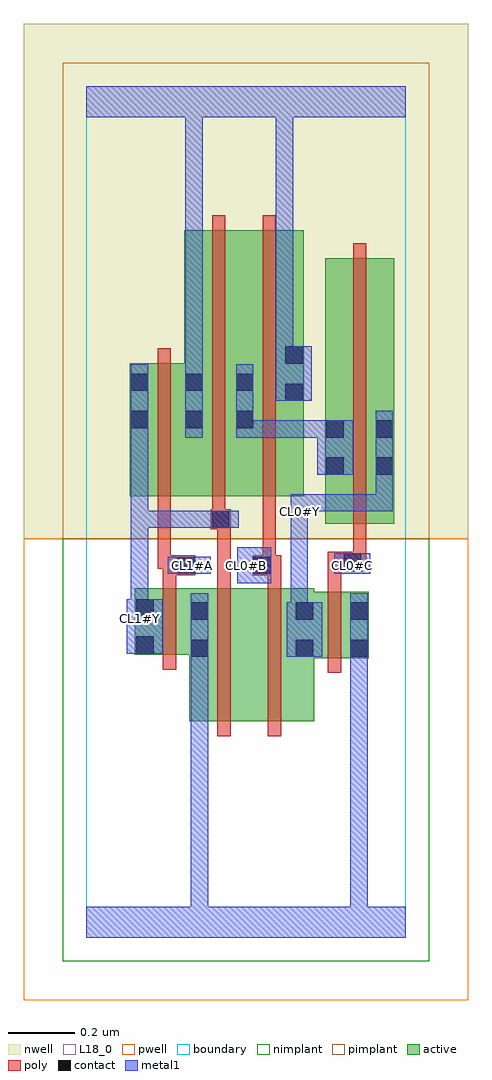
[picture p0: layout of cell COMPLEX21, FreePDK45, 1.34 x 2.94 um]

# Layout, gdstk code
import gdstk
lib = gdstk.Library(unit=1e-6, precision=1e-09)
def R(c, l, rs):  # rectangles x0, y0, x1, y1
    for r in rs: c.add(gdstk.rectangle(r[:2], r[2:], *l))
active = (1, 0)
pwell = (2, 0)
nwell = (3, 0)
nimplant = (4, 0)
pimplant = (5, 0)
poly = (9, 0)
contact = (10, 0)
metal1 = (11, 0)
L18_0 = (18, 0)
boundary = (235, 0)

complex21 = lib.new_cell('COMPLEX21')
R(complex21, active, [(0.31,0.65,0.37,1.012), (0.31,0.65,0.49,1.05), (0.49,0.65,0.686,1.05), (0.626,0.65,0.686,1.012), (0.626,0.84,0.85,1.04), (0.79,0.84,0.85,1.04), (0.146,0.85,0.206,1.05), (0.146,0.85,0.37,1.05), (0.718,1.244,0.778,2.044), (0.718,1.244,0.926,2.044), (0.866,1.244,0.926,2.044), (0.13,1.328,0.354,1.728), (0.13,1.328,0.19,1.728), (0.294,1.328,0.506,2.128), (0.294,1.328,0.354,1.7), (0.446,1.328,0.654,2.128), (0.446,1.328,0.506,2.044), (0.594,1.328,0.654,2.044)])
R(complex21, pwell, [(-0.188,-0.188,1.148,1.2)])
R(complex21, nwell, [(-0.188,1.2,1.148,2.748)])
R(complex21, nimplant, [(-0.072,-0.072,1.032,1.2)])
R(complex21, pimplant, [(-0.072,1.2,1.032,2.632)])
R(complex21, poly, [(0.394,0.606,0.434,1.094), (0.546,0.606,0.586,1.094), (0.726,0.796,0.766,1.084), (0.23,0.806,0.27,1.094), (0.726,1.044,0.766,1.14), (0.23,1.054,0.27,1.13), (0.394,1.054,0.434,1.268), (0.546,1.054,0.586,1.13), (0.23,1.09,0.328,1.15), (0.5,1.09,0.586,1.15), (0.726,1.1,0.83,1.16), (0.214,1.11,0.254,1.324), (0.214,1.11,0.27,1.15), (0.23,1.11,0.27,1.15), (0.53,1.11,0.57,1.15), (0.53,1.11,0.57,1.15), (0.53,1.11,0.57,1.324), (0.79,1.12,0.83,1.16), (0.79,1.12,0.842,1.16), (0.802,1.12,0.842,1.24), (0.802,1.2,0.842,2.088), (0.374,1.228,0.434,1.288), (0.394,1.228,0.434,1.268), (0.394,1.228,0.434,1.268), (0.378,1.248,0.418,1.324), (0.214,1.284,0.254,1.772), (0.378,1.284,0.418,2.172), (0.53,1.284,0.57,2.172)])
R(complex21, contact, [(0.314,0.844,0.366,0.896), (0.63,0.844,0.682,0.896), (0.794,0.844,0.846,0.896), (0.15,0.854,0.202,0.906), (0.314,0.956,0.366,1.008), (0.63,0.956,0.682,1.008), (0.794,0.956,0.846,1.008), (0.15,0.966,0.202,1.018), (0.272,1.094,0.324,1.146), (0.504,1.094,0.556,1.146), (0.774,1.104,0.826,1.156), (0.378,1.232,0.43,1.284), (0.722,1.392,0.774,1.444), (0.87,1.392,0.922,1.444), (0.722,1.504,0.774,1.556), (0.87,1.504,0.922,1.556), (0.134,1.532,0.186,1.584), (0.298,1.532,0.35,1.584), (0.45,1.532,0.502,1.584), (0.598,1.614,0.65,1.666), (0.134,1.644,0.186,1.696), (0.298,1.644,0.35,1.696), (0.45,1.644,0.502,1.696), (0.598,1.726,0.65,1.778)])
R(complex21, metal1, [(0,0,0.96,0.092), (0.314,0.04,0.366,0.092), (0.314,0.04,0.366,0.092), (0.314,0.04,0.366,0.092), (0.314,0.04,0.366,0.092), (0.314,0.04,0.366,0.092), (0.314,0.04,0.366,0.092), (0.314,0.04,0.366,0.092), (0.314,0.04,0.366,0.092), (0.314,0.04,0.366,0.092), (0.314,0.04,0.366,0.092), (0.314,0.04,0.366,0.092), (0.314,0.04,0.366,0.092), (0.314,0.04,0.366,0.868), (0.794,0.04,0.846,0.092), (0.794,0.04,0.846,0.092), (0.794,0.04,0.846,0.092), (0.794,0.04,0.846,0.092), (0.794,0.04,0.846,0.092), (0.794,0.04,0.846,0.092), (0.794,0.04,0.846,0.092), (0.794,0.04,0.846,0.092), (0.794,0.04,0.846,0.092), (0.794,0.04,0.846,0.092), (0.794,0.04,0.846,0.092), (0.794,0.04,0.846,0.092), (0.794,0.04,0.846,0.868), (0.314,0.816,0.366,1.036), (0.794,0.816,0.846,1.036), (0.794,0.816,0.846,0.868), (0.794,0.816,0.846,0.868), (0.794,0.816,0.846,0.868), (0.794,0.816,0.846,0.868), (0.602,0.844,0.71,1.008), (0.122,0.854,0.23,1.018), (0.134,0.906,0.186,0.958), (0.134,0.906,0.186,1.018), (0.614,0.956,0.666,1.278), (0.134,0.966,0.186,1.284), (0.454,1.066,0.556,1.174), (0.244,1.094,0.374,1.146), (0.746,1.094,0.854,1.156), (0.614,1.226,0.666,1.334), (0.134,1.232,0.186,1.284), (0.134,1.232,0.186,1.284), (0.134,1.232,0.186,1.284), (0.134,1.232,0.296,1.284), (0.134,1.232,0.186,1.556), (0.244,1.232,0.296,1.284), (0.244,1.232,0.402,1.284), (0.35,1.232,0.458,1.284), (0.614,1.282,0.666,1.334), (0.614,1.282,0.666,1.334), (0.614,1.282,0.922,1.334), (0.87,1.282,0.922,1.416), (0.87,1.282,0.922,1.334), (0.87,1.282,0.922,1.334), (0.87,1.282,0.922,1.334), (0.87,1.364,0.922,1.584), (0.694,1.392,0.802,1.556), (0.134,1.504,0.186,1.724), (0.298,1.504,0.35,1.724), (0.45,1.504,0.502,1.724), (0.45,1.504,0.502,1.556), (0.45,1.504,0.502,1.556), (0.45,1.504,0.612,1.556), (0.56,1.504,0.612,1.556), (0.56,1.504,0.746,1.556), (0.57,1.614,0.678,1.778), (0.298,1.672,0.35,1.724), (0.298,1.672,0.35,1.724), (0.298,1.672,0.35,2.52), (0.57,1.726,0.622,1.778), (0.57,1.726,0.622,1.778), (0.57,1.726,0.622,2.52), (0,2.468,0.96,2.56), (0.298,2.468,0.35,2.52), (0.298,2.468,0.35,2.52), (0.298,2.468,0.35,2.52), (0.298,2.468,0.35,2.52), (0.298,2.468,0.35,2.52), (0.298,2.468,0.35,2.52), (0.57,2.468,0.622,2.52), (0.57,2.468,0.622,2.52), (0.57,2.468,0.622,2.52), (0.57,2.468,0.622,2.52), (0.57,2.468,0.622,2.52), (0.57,2.468,0.622,2.52)])
R(complex21, L18_0, [(0,0,0.96,0.092), (0.314,0.04,0.366,0.092), (0.314,0.04,0.366,0.092), (0.314,0.04,0.366,0.092), (0.314,0.04,0.366,0.092), (0.314,0.04,0.366,0.092), (0.314,0.04,0.366,0.092), (0.314,0.04,0.366,0.092), (0.314,0.04,0.366,0.092), (0.314,0.04,0.366,0.092), (0.314,0.04,0.366,0.092), (0.314,0.04,0.366,0.092), (0.314,0.04,0.366,0.092), (0.314,0.04,0.366,0.868), (0.794,0.04,0.846,0.092), (0.794,0.04,0.846,0.092), (0.794,0.04,0.846,0.092), (0.794,0.04,0.846,0.092), (0.794,0.04,0.846,0.092), (0.794,0.04,0.846,0.092), (0.794,0.04,0.846,0.092), (0.794,0.04,0.846,0.092), (0.794,0.04,0.846,0.092), (0.794,0.04,0.846,0.092), (0.794,0.04,0.846,0.092), (0.794,0.04,0.846,0.092), (0.794,0.04,0.846,0.868), (0.314,0.816,0.366,1.036), (0.794,0.816,0.846,0.868), (0.794,0.816,0.846,0.868), (0.794,0.816,0.846,0.868), (0.794,0.816,0.846,0.868), (0.794,0.816,0.846,1.036), (0.602,0.844,0.71,1.008), (0.122,0.854,0.23,1.018), (0.134,0.906,0.186,1.018), (0.134,0.906,0.186,0.958), (0.134,0.934,0.186,0.986), (0.614,0.956,0.666,1.278), (0.134,0.966,0.186,1.284), (0.454,1.066,0.556,1.174), (0.244,1.094,0.374,1.146), (0.294,1.094,0.346,1.146), (0.454,1.094,0.506,1.146), (0.746,1.094,0.854,1.156), (0.774,1.094,0.826,1.146), (0.614,1.226,0.666,1.334), (0.134,1.232,0.186,1.284), (0.134,1.232,0.186,1.284), (0.134,1.232,0.186,1.284), (0.134,1.232,0.186,1.556), (0.134,1.232,0.296,1.284), (0.244,1.232,0.296,1.284), (0.244,1.232,0.402,1.284), (0.35,1.232,0.458,1.284), (0.614,1.254,0.666,1.306), (0.614,1.282,0.666,1.334), (0.614,1.282,0.666,1.334), (0.614,1.282,0.922,1.334), (0.87,1.282,0.922,1.334), (0.87,1.282,0.922,1.334), (0.87,1.282,0.922,1.334), (0.87,1.282,0.922,1.416), (0.87,1.364,0.922,1.584), (0.134,1.504,0.186,1.724), (0.298,1.504,0.35,1.724), (0.57,1.614,0.678,1.778), (0.298,1.672,0.35,1.724), (0.298,1.672,0.35,1.724), (0.298,1.672,0.35,2.52), (0.57,1.726,0.622,1.778), (0.57,1.726,0.622,1.778), (0.57,1.726,0.622,2.52), (0,2.468,0.96,2.56), (0.298,2.468,0.35,2.52), (0.298,2.468,0.35,2.52), (0.298,2.468,0.35,2.52), (0.298,2.468,0.35,2.52), (0.298,2.468,0.35,2.52), (0.298,2.468,0.35,2.52), (0.57,2.468,0.622,2.52), (0.57,2.468,0.622,2.52), (0.57,2.468,0.622,2.52), (0.57,2.468,0.622,2.52), (0.57,2.468,0.622,2.52), (0.57,2.468,0.622,2.52)])
R(complex21, boundary, [(0,0,0.96,2.56)])
complex21.add(gdstk.Label('CL0#B', (0.48,1.12), layer=11, texttype=0))
complex21.add(gdstk.Label('CL0#C', (0.8,1.12), layer=11, texttype=0))
complex21.add(gdstk.Label('CL0#Y', (0.64,1.28), layer=11, texttype=0))
complex21.add(gdstk.Label('CL1#A', (0.32,1.12), layer=11, texttype=0))
complex21.add(gdstk.Label('CL1#Y', (0.16,0.96), layer=11, texttype=0))

lib.write_gds('COMPLEX21.gds')
